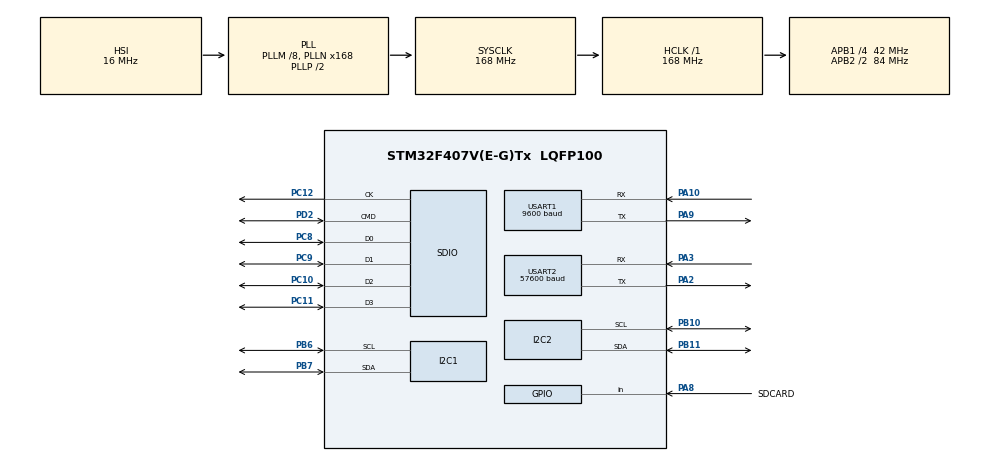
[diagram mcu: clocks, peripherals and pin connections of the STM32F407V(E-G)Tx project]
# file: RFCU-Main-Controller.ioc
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Dma.Request0=USART1_RX
Dma.Request1=USART2_TX
Dma.USART1_RX.0.Direction=DMA_PERIPH_TO_MEMORY
Dma.USART1_RX.0.FIFOMode=DMA_FIFOMODE_DISABLE
Dma.USART1_RX.0.Instance=DMA2_Stream2
Dma.USART1_RX.0.MemDataAlignment=DMA_MDATAALIGN_BYTE
Dma.USART1_RX.0.MemInc=DMA_MINC_ENABLE
Dma.USART1_RX.0.Mode=DMA_NORMAL
Dma.USART1_RX.0.PeriphDataAlignment=DMA_PDATAALIGN_BYTE
Dma.USART1_RX.0.PeriphInc=DMA_PINC_DISABLE
Dma.USART1_RX.0.Priority=DMA_PRIORITY_LOW
Dma.USART2_TX.1.Direction=DMA_MEMORY_TO_PERIPH
Dma.USART2_TX.1.FIFOMode=DMA_FIFOMODE_DISABLE
Dma.USART2_TX.1.Instance=DMA1_Stream6
Dma.USART2_TX.1.MemDataAlignment=DMA_MDATAALIGN_BYTE
Dma.USART2_TX.1.MemInc=DMA_MINC_ENABLE
Dma.USART2_TX.1.Mode=DMA_NORMAL
Dma.USART2_TX.1.PeriphDataAlignment=DMA_PDATAALIGN_BYTE
Dma.USART2_TX.1.PeriphInc=DMA_PINC_DISABLE
Dma.USART2_TX.1.Priority=DMA_PRIORITY_HIGH
FATFS.BSP.number=1
FATFS0.BSP.STBoard=false
FATFS0.BSP.api=Unknown
FATFS0.BSP.i2caddr=0
FATFS0.BSP.instance=PA8
FATFS0.BSP.ip=GPIO
FATFS0.BSP.mode=Input
FATFS0.BSP.name=Detect_SDIO
FATFS0.BSP.solution=PA8
Mcu.Family=STM32F4
Mcu.Name=STM32F407V(E-G)Tx
Mcu.Package=LQFP100
NVIC.DMA1_Stream6_IRQn=true\:0\:0\:false\:false\:true\:false\:true
NVIC.DMA2_Stream2_IRQn=true\:0\:0\:false\:false\:true\:false\:true
NVIC.PriorityGroup=NVIC_PRIORITYGROUP_4
NVIC.TIM4_IRQn=true\:0\:0\:false\:false\:true\:true\:true
NVIC.USART1_IRQn=true\:0\:0\:false\:false\:true\:true\:true
PA10.Mode=Asynchronous
PA10.Signal=USART1_RX
PA13.Mode=Serial_Wire
PA13.Signal=SYS_JTMS-SWDIO
PA14.Mode=Serial_Wire
PA14.Signal=SYS_JTCK-SWCLK
PA2.Mode=Asynchronous
PA2.Signal=USART2_TX
PA3.Mode=Asynchronous
PA3.Signal=USART2_RX
PA8.GPIO_Label=SDCARD
PA8.Signal=GPIO_Input
PA9.Mode=Asynchronous
PA9.Signal=USART1_TX
PB10.Mode=I2C
PB10.Signal=I2C2_SCL
PB11.Mode=I2C
PB11.Signal=I2C2_SDA
PB6.Mode=I2C
PB6.Signal=I2C1_SCL
PB7.Mode=I2C
PB7.Signal=I2C1_SDA
PC10.Mode=SD_4_bits_Wide_bus
PC10.Signal=SDIO_D2
PC11.Mode=SD_4_bits_Wide_bus
PC11.Signal=SDIO_D3
PC12.Mode=SD_4_bits_Wide_bus
PC12.Signal=SDIO_CK
PC8.Mode=SD_4_bits_Wide_bus
PC8.Signal=SDIO_D0
PC9.Mode=SD_4_bits_Wide_bus
PC9.Signal=SDIO_D1
PD2.Mode=SD_4_bits_Wide_bus
PD2.Signal=SDIO_CMD
PH0-OSC_IN.Mode=HSE-External-Oscillator
PH0-OSC_IN.Signal=RCC_OSC_IN
PH1-OSC_OUT.Mode=HSE-External-Oscillator
PH1-OSC_OUT.Signal=RCC_OSC_OUT
ProjectManager.HeapSize=0x200
ProjectManager.StackSize=0x400
ProjectManager.TargetToolchain=TrueSTUDIO
RCC.48MHZClocksFreq_Value=48000000
RCC.AHBFreq_Value=168000000
RCC.APB1CLKDivider=RCC_HCLK_DIV4
RCC.APB1Freq_Value=42000000
RCC.APB1TimFreq_Value=84000000
RCC.APB2CLKDivider=RCC_HCLK_DIV2
RCC.APB2Freq_Value=84000000
RCC.APB2TimFreq_Value=168000000
RCC.CortexFreq_Value=168000000
RCC.HCLKFreq_Value=168000000
RCC.HSE_VALUE=25000000
RCC.HSI_VALUE=16000000
RCC.LSE_VALUE=32768
RCC.PLLM=8
RCC.PLLN=168
RCC.PLLQ=7
RCC.SYSCLKFreq_VALUE=168000000
RCC.SYSCLKSource=RCC_SYSCLKSOURCE_PLLCLK
RCC.VCOOutputFreq_Value=336000000
TIM4.Period=2000
TIM4.Prescaler=16799
USART1.BaudRate=9600
USART1.VirtualMode=VM_ASYNC
USART2.BaudRate=57600
USART2.VirtualMode=VM_ASYNC
VP_FATFS_VS_SDIO.Mode=SDIO
VP_TIM4_VS_ClockSourceINT.Mode=Internal
board=custom

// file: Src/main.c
/* USER CODE BEGIN Header */
/**
  ******************************************************************************
  * @file           : main.c
  * @brief          : Main program body
  ******************************************************************************
  * @attention
  *
  * <h2><center>&copy; Copyright (c) 2019 STMicroelectronics.
  * All rights reserved.</center></h2>
  *
  * This software component is licensed by ST under BSD 3-Clause license,
  * the "License"; You may not use this file except in compliance with the
  * License. You may obtain a copy of the License at:
  *                        opensource.org/licenses/BSD-3-Clause
  *
  ******************************************************************************
  */
/* USER CODE END Header */

#include "main.h"
#include "dma.h"
#include "fatfs.h"
#include "i2c.h"
#include "sdio.h"
#include "tim.h"
#include "usart.h"
#include "gpio.h"

/* USER CODE BEGIN Includes */
#include "BMP180.h"
#include "MPU6050.h"
#include "GPS.h"
#include "SDCARD.h"
#include "RocketLink.h"
#include "stdlib.h"
#include "stdio.h"
/* USER CODE END Includes */

/* USER CODE BEGIN PD */
void sendInfo(void);
/* USER CODE END PD */

/* USER CODE BEGIN PV */
BMP180_HandleTypeDef BMP180;
MPU6050_HandleTypeDef MPU6050;
GPS_HandleTypeDef GPS;
/* USER CODE END PV */

void SystemClock_Config(void);

int main(void)
{

  /* MCU Configuration--------------------------------------------------------*/

  /* Reset of all peripherals, Initializes the Flash interface and the Systick. */
  HAL_Init();

  /* Configure the system clock */
  SystemClock_Config();

  /* Initialize all configured peripherals */
  MX_GPIO_Init();
  MX_DMA_Init();
  MX_I2C1_Init();
  MX_I2C2_Init();
  MX_USART1_UART_Init();
  MX_USART2_UART_Init();
  MX_SDIO_SD_Init();
  MX_FATFS_Init();
  MX_TIM4_Init();
  /* USER CODE BEGIN 2 */
  	HAL_Delay(5000);
  	/*Rocket Link Start*/
	initRocketLink(&RocketLink,huart2);
	initRocketLinkPackage(&RocketLink);
	setRocketStage(&RocketLink,PREPARING);
	sendInfo();
	/*RocketLink Finish*/

	/*GPS Start*/
	setSensorStatus(&RocketLink,GPS_CALIBRATION);
	sendInfo();
	initGPS(&GPS,huart1);
	if(isGPSReady(&GPS) == GPS_OK){
		setSensorStatus(&RocketLink,GPS_IS_READY);
	}
	sendInfo();
	/*GPS Finish*/

	/*BMP180 Start*/
	initBMP180(&BMP180,hi2c2);

	if(isBMP180Ready(&BMP180) == BMP180_OK){
		setSensorStatus(&RocketLink,BAROMETER_IS_READY);
	}
	sendInfo();

	if(calibrateBMP180(&BMP180) == BMP180_OK){
		setSensorStatus(&RocketLink,BAROMETER_CALIBRATION);
	}
	sendInfo();
	/*BMP180 Finish*/

	/*MPU6050 Start*/
	initMPU6050(&MPU6050,hi2c1);
	isMPU6050Ready(&MPU6050);
	setSensorStatus(&RocketLink,IMU_CALIBRATION);
	sendInfo();
	setMPU6050(&MPU6050);
	setSensorStatus(&RocketLink,IMU_IS_READY);
	sendInfo();
	/*MPU6050 Finish*/

	/*Preperation Start*/
	setRocketStage(&RocketLink,READY_FOR_IGNITION);
	sendInfo();
	/*Preperation Finish*/

  /* USER CODE END 2 */

  /* Infinite loop */
  while (1)
  {
	 calcPressure(&BMP180);
	 setGPSLat(&RocketLink,GPS.latitude);
	 setGPSLong(&RocketLink,GPS.longtitude);
	 setGPSHdop(&RocketLink,GPS.hdop);
	 setGPSAlt(&RocketLink,GPS.altitude);
	 setGPSSatelliteNumber(&RocketLink,GPS.satellite);
	 setPressure(&RocketLink,BMP180.pressurehPa);
	 HAL_UART_Transmit(&huart2,RocketLink.sendPackage,128,1000);
	 HAL_Delay(500);
  }
}

void SystemClock_Config(void)
{
  RCC_OscInitTypeDef RCC_OscInitStruct = {0};
  RCC_ClkInitTypeDef RCC_ClkInitStruct = {0};

  /** Configure the main internal regulator output voltage
  */
  __HAL_RCC_PWR_CLK_ENABLE();
  __HAL_PWR_VOLTAGESCALING_CONFIG(PWR_REGULATOR_VOLTAGE_SCALE1);
  /** Initializes the CPU, AHB and APB busses clocks
  */
  RCC_OscInitStruct.OscillatorType = RCC_OSCILLATORTYPE_HSI;
  RCC_OscInitStruct.HSIState = RCC_HSI_ON;
  RCC_OscInitStruct.HSICalibrationValue = RCC_HSICALIBRATION_DEFAULT;
  RCC_OscInitStruct.PLL.PLLState = RCC_PLL_ON;
  RCC_OscInitStruct.PLL.PLLSource = RCC_PLLSOURCE_HSI;
  RCC_OscInitStruct.PLL.PLLM = 8;
  RCC_OscInitStruct.PLL.PLLN = 168;
  RCC_OscInitStruct.PLL.PLLP = RCC_PLLP_DIV2;
  RCC_OscInitStruct.PLL.PLLQ = 7;
  if (HAL_RCC_OscConfig(&RCC_OscInitStruct) != HAL_OK)
  {
    Error_Handler();
  }
  /** Initializes the CPU, AHB and APB busses clocks
  */
  RCC_ClkInitStruct.ClockType = RCC_CLOCKTYPE_HCLK|RCC_CLOCKTYPE_SYSCLK
                              |RCC_CLOCKTYPE_PCLK1|RCC_CLOCKTYPE_PCLK2;
  RCC_ClkInitStruct.SYSCLKSource = RCC_SYSCLKSOURCE_PLLCLK;
  RCC_ClkInitStruct.AHBCLKDivider = RCC_SYSCLK_DIV1;
  RCC_ClkInitStruct.APB1CLKDivider = RCC_HCLK_DIV4;
  RCC_ClkInitStruct.APB2CLKDivider = RCC_HCLK_DIV2;

  if (HAL_RCC_ClockConfig(&RCC_ClkInitStruct, FLASH_LATENCY_5) != HAL_OK)
  {
    Error_Handler();
  }
}

/* USER CODE BEGIN 4 */

void HAL_UART_RxCpltCallback(UART_HandleTypeDef *huart)
{
  if(huart->Instance == USART1){
		if(GPS.checkBuffer == 36){
			GPS.packageFind = 1;
		}

	 if(GPS.checkBuffer != 10 && GPS.packageFind == 1){
		GPS.gpsBuffer[GPS.gpsIndex] = GPS.checkBuffer;
		GPS.gpsIndex++;
	 }else{
		GPS.gpsBuffer[GPS.gpsIndex] = GPS.checkBuffer;
		parseGPS(&GPS);
		GPS.gpsIndex = 0;
		GPS.packageFind = 0;
	 }

	 HAL_UART_Receive_DMA(&huart1,&GPS.checkBuffer,1);
	}
}

void sendInfo(){
	HAL_UART_Transmit(&RocketLink.myUART,RocketLink.sendPackage,128,1000);
	HAL_Delay(200);
	HAL_UART_Transmit(&RocketLink.myUART,RocketLink.sendPackage,128,1000);
	HAL_Delay(200);
}

/* USER CODE END 4 */

void Error_Handler(void)
{
}

/************************ (C) COPYRIGHT STMicroelectronics *****END OF FILE****/
